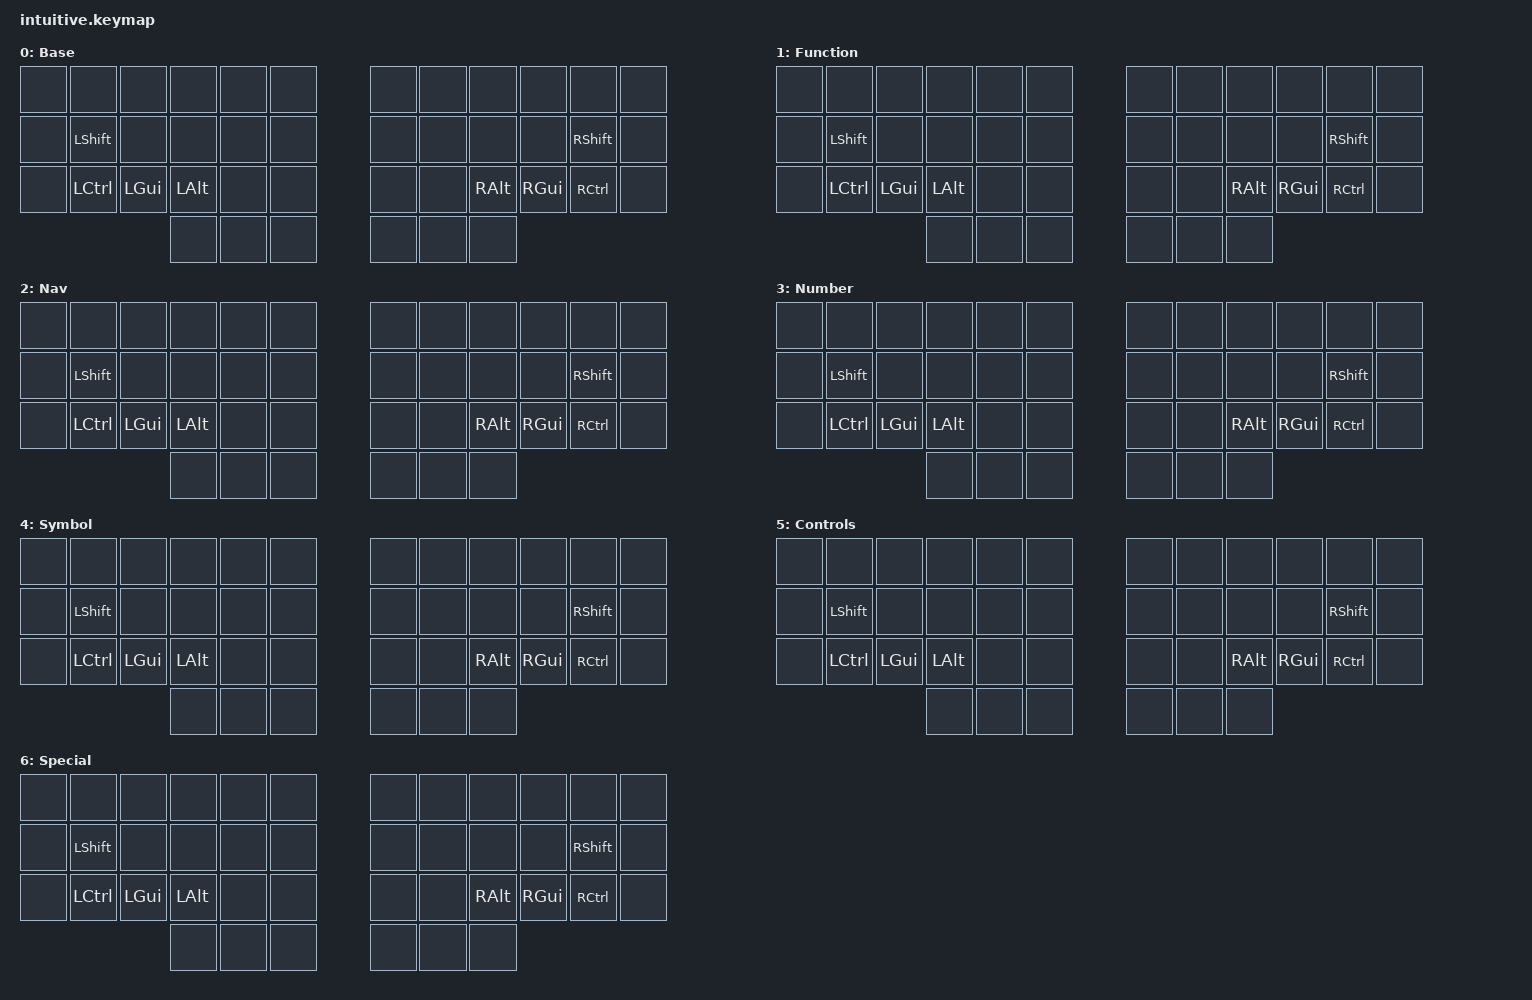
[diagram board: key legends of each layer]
#include <behaviors.dtsi>
#include <dt-bindings/zmk/keys.h>

/ {
    keymap {
        compatible = "zmk,keymap";

        Base {
            bindings = <
&none  &none             &none         &none         &none  &none    &none  &none  &none          &none          &none              &none
&none  &kp LEFT_SHIFT    &none         &none         &none  &none    &none  &none  &none          &none          &kp RIGHT_SHIFT    &none
&none  &kp LEFT_CONTROL  &kp LEFT_GUI  &kp LEFT_ALT  &none  &none    &none  &none  &kp RIGHT_ALT  &kp RIGHT_GUI  &kp RIGHT_CONTROL  &none
                                       &none         &none  &none    &none  &none  &none
            >;
        };

        Function {
            bindings = <
&none  &none             &none         &none         &none  &none    &none  &none  &none          &none          &none              &none
&none  &kp LEFT_SHIFT    &none         &none         &none  &none    &none  &none  &none          &none          &kp RIGHT_SHIFT    &none
&none  &kp LEFT_CONTROL  &kp LEFT_GUI  &kp LEFT_ALT  &none  &none    &none  &none  &kp RIGHT_ALT  &kp RIGHT_GUI  &kp RIGHT_CONTROL  &none
                                       &none         &none  &none    &none  &none  &none
            >;
        };

        Nav {
            bindings = <
&none  &none             &none         &none         &none  &none    &none  &none  &none          &none          &none              &none
&none  &kp LEFT_SHIFT    &none         &none         &none  &none    &none  &none  &none          &none          &kp RIGHT_SHIFT    &none
&none  &kp LEFT_CONTROL  &kp LEFT_GUI  &kp LEFT_ALT  &none  &none    &none  &none  &kp RIGHT_ALT  &kp RIGHT_GUI  &kp RIGHT_CONTROL  &none
                                       &none         &none  &none    &none  &none  &none
            >;
        };

        Number {
            bindings = <
&none  &none             &none         &none         &none  &none    &none  &none  &none          &none          &none              &none
&none  &kp LEFT_SHIFT    &none         &none         &none  &none    &none  &none  &none          &none          &kp RIGHT_SHIFT    &none
&none  &kp LEFT_CONTROL  &kp LEFT_GUI  &kp LEFT_ALT  &none  &none    &none  &none  &kp RIGHT_ALT  &kp RIGHT_GUI  &kp RIGHT_CONTROL  &none
                                       &none         &none  &none    &none  &none  &none
            >;
        };

        Symbol {
            bindings = <
&none  &none             &none         &none         &none  &none    &none  &none  &none          &none          &none              &none
&none  &kp LEFT_SHIFT    &none         &none         &none  &none    &none  &none  &none          &none          &kp RIGHT_SHIFT    &none
&none  &kp LEFT_CONTROL  &kp LEFT_GUI  &kp LEFT_ALT  &none  &none    &none  &none  &kp RIGHT_ALT  &kp RIGHT_GUI  &kp RIGHT_CONTROL  &none
                                       &none         &none  &none    &none  &none  &none
            >;
        };

        Controls {
            bindings = <
&none  &none             &none         &none         &none  &none    &none  &none  &none          &none          &none              &none
&none  &kp LEFT_SHIFT    &none         &none         &none  &none    &none  &none  &none          &none          &kp RIGHT_SHIFT    &none
&none  &kp LEFT_CONTROL  &kp LEFT_GUI  &kp LEFT_ALT  &none  &none    &none  &none  &kp RIGHT_ALT  &kp RIGHT_GUI  &kp RIGHT_CONTROL  &none
                                       &none         &none  &none    &none  &none  &none
            >;
        };

        Special {
            bindings = <
&none  &none             &none         &none         &none  &none    &none  &none  &none          &none          &none              &none
&none  &kp LEFT_SHIFT    &none         &none         &none  &none    &none  &none  &none          &none          &kp RIGHT_SHIFT    &none
&none  &kp LEFT_CONTROL  &kp LEFT_GUI  &kp LEFT_ALT  &none  &none    &none  &none  &kp RIGHT_ALT  &kp RIGHT_GUI  &kp RIGHT_CONTROL  &none
                                       &none         &none  &none    &none  &none  &none
            >;
        };

    };
};
